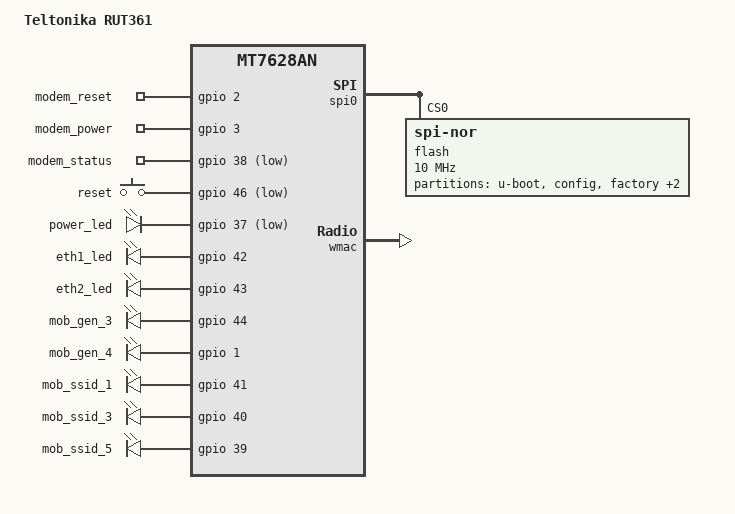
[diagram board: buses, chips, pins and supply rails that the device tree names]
// SPDX-License-Identifier: GPL-2.0-or-later OR MIT
/dts-v1/;

#include <dt-bindings/input/input.h>
#include <dt-bindings/gpio/gpio.h>
#include "mt7628an.dtsi"
#include "platform_name.dtsi"

/ {
	compatible = "teltonika,rut361", "mediatek,mt7628an-soc";
	model = "Teltonika RUT361";

	chosen {
		bootargs = "console=ttyS0,115200 root=/dev/mtdblock5";
	};

	gpio-export {
		compatible = "gpio-export";
		#size-cells = <0>;

		gpio_modem_reset {
			gpio-export,name = "modem_reset";
			gpio-export,output = <0>;
			gpios = <&gpio 2 GPIO_ACTIVE_HIGH>;
		};

		gpio_modem_power {
			gpio-export,name = "modem_power";
			gpio-export,output = <0>;
			gpios = <&gpio 3 GPIO_ACTIVE_HIGH>;
		};

		gpio_modem_status {
			gpio-export,name = "modem_status";
			gpio-export,input = <0>;
			gpios = <&gpio 38 GPIO_ACTIVE_LOW>;
		};
	};

	keys {
		compatible = "gpio-keys";

		reset {
			label = "reset";
			gpios = <&gpio 46 GPIO_ACTIVE_LOW>;
			linux,code = <KEY_RESTART>;
		};

	};

	leds {
		compatible = "gpio-leds";

		power_led {
			label = "power_led";
			gpios = <&gpio 37 GPIO_ACTIVE_LOW>;
			default-state = "on";
			retain-state-shutdown;
		};

		eth1_led {
			label = "eth1_led";
			gpios = <&gpio 42 GPIO_ACTIVE_HIGH>;
		};

		eth2_led {
			label = "eth2_led";
			gpios = <&gpio 43 GPIO_ACTIVE_HIGH>;
		};

		led_gen_3 {
			label = "mob_gen_3";
			gpios = <&gpio 44 GPIO_ACTIVE_HIGH>;
		};

		led_gen_4 {
			label = "mob_gen_4";
			gpios = <&gpio 1 GPIO_ACTIVE_HIGH>;
		};

		led_ssid_1 {
			label = "mob_ssid_1";
			gpios = <&gpio 41 GPIO_ACTIVE_HIGH>;
			linux,default-trigger = "timer";
		};

		led_ssid_3 {
			label = "mob_ssid_3";
			gpios = <&gpio 40 GPIO_ACTIVE_HIGH>;
			linux,default-trigger = "timer";
		};

		led_ssid_5 {
			label = "mob_ssid_5";
			gpios = <&gpio 39 GPIO_ACTIVE_HIGH>;
			linux,default-trigger = "timer";
		};

	};

	tlt_gpios { // Modify according to wiki page "DTS syntax with Libgpiod changes"
		gpiochip_info {
			hw_0 {
				hwver = <0>;
				gpiochip_count = <3>;

				gpiochip_0 = <32>; // Built-in
				gpiochip_1 = <32>; // Built-in
				gpiochip_2 = <32>; // Built-in
			};
		};

		ioman {
			GPIO_4 {
				line_name = "GPIO_IN_1";
				active_low;
			};
			GPIO_5 {
				line_name = "GPIO_OUT_1";
			};
			GPIO_0 {
				line_name = "GPIO_IN_2";
				active_low;
			};
			GPIO_11 {
				line_name = "GPIO_OUT_2";
			};
		};

		misc {
			GPIO_2 {
				line_name = "GPIO_MODEM_RESET_1";
			};
			GPIO_3 {
				line_name = "GPIO_MODEM_POWER_1";
			};
			GPIO_38 {
				line_name = "GPIO_MODEM_STATUS_1";
				active_low;
			};
		};
	};

	ioman {
		layout@0 {
			io@0 { // 4pin #3
				label = "dio0";
				block_type = BLOCK_4PIN;
				block_pin = "3";
				default_direction = "out";
				gpio_in = "GPIO_IN_1";
				gpio_out = "GPIO_OUT_1";
				io_param = "g0";
			};
			io@1 { // 4pin #4
				label = "dio1";
				block_type = BLOCK_4PIN;
				block_pin = "4";
				default_direction = "in";
				gpio_in = "GPIO_IN_2";
				gpio_out = "GPIO_OUT_2";
				io_param = "g1";
			};
		};
	};
};

&mnfinfo {
	simpin1 {
		default = "";
		sec;
	};

	sim_count {
		default =  "1";
	};

	sim_cfg {
		default = "0111010";
		// 1 esim on ch1 "0121010"
		// 2 esim "1121010_1122010"
	};

};

&state_default {
	gpio {
		groups = "i2s", "p4led_an", "p3led_an", "p2led_an", "p1led_an", "p0led_an", "wled_an", "uart1", "wdt", "perst";
		function = "gpio";
	};
};

&spi0 {
	status = "okay";

	flash@0 {
		compatible = "jedec,spi-nor";
		reg = <0>;
		spi-max-frequency = <10000000>;

		partitions {
			compatible = "fixed-partitions";
			#address-cells = <1>;
			#size-cells = <1>;

			boot: partition@0 {
				label = "u-boot";
				reg = <0x0 0x20000>;
				read-only;
			};

			config: partition@20000 {
				compatible = "nvmem-cells";
				#address-cells = <1>;
				#size-cells = <1>;

				label = "config";
				reg = <0x020000 0x010000>;
				read-only;

				macaddr_config_0: macaddr@0 {
					reg = <0x0 0x6>;
				};
			};

			factory: partition@30000 {
				label = "factory";
				reg = <0x030000 0x030000>;
				read-only;
			};

			partition@60000 {
				compatible = "denx,uimage";
				label = "firmware";
				reg = <0x060000 0xf10000>;
			};

			partition@f70000 {
				label = "event-log";
				reg = <0xf70000 0x90000>;
			};
		};
	};
};

&wmac {
	status = "okay";
	nvmem-cells = <&macaddr_config_0>;
	nvmem-cell-names = "mac-address";
	mac-address-increment = <2>;
	mediatek,mtd-eeprom = <&factory 0x20000>;
};

&ethernet {
	nvmem-cells = <&macaddr_config_0>;
	nvmem-cell-names = "mac-address";
};

&esw {
	mediatek,portmap = <0x3e>;
};
